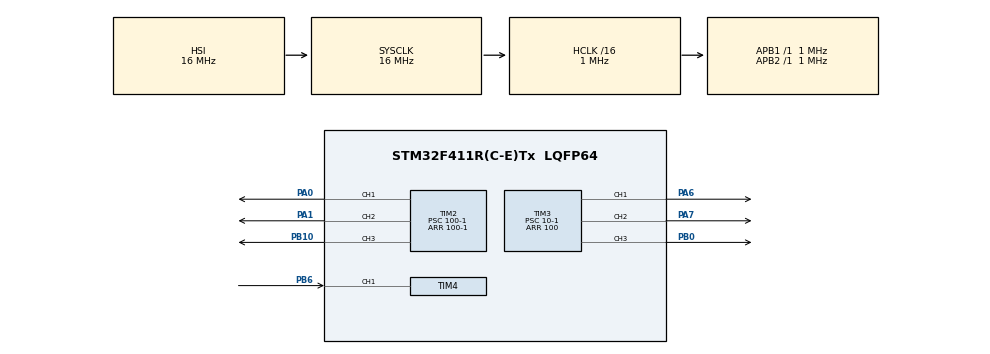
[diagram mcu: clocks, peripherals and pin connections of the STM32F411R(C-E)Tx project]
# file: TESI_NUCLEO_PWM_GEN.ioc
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Mcu.Family=STM32F4
Mcu.Name=STM32F411R(C-E)Tx
Mcu.Package=LQFP64
NVIC.PriorityGroup=NVIC_PRIORITYGROUP_4
NVIC.TIM4_IRQn=true\:0\:0\:false\:false\:true\:true\:true\:true
PA0-WKUP.Signal=S_TIM2_CH1_ETR
PA1.Signal=S_TIM2_CH2
PA6.Signal=S_TIM3_CH1
PA7.Signal=S_TIM3_CH2
PB0.Signal=S_TIM3_CH3
PB10.Signal=S_TIM2_CH3
PB6.Signal=S_TIM4_CH1
ProjectManager.HeapSize=0x200
ProjectManager.StackSize=0x400
ProjectManager.TargetToolchain=STM32CubeIDE
RCC.AHBCLKDivider=RCC_SYSCLK_DIV16
RCC.AHBFreq_Value=1000000
RCC.APB1Freq_Value=1000000
RCC.APB1TimFreq_Value=1000000
RCC.APB2Freq_Value=1000000
RCC.APB2TimFreq_Value=1000000
RCC.CortexFreq_Value=1000000
RCC.HCLKFreq_Value=1000000
RCC.HSE_VALUE=25000000
RCC.HSI_VALUE=16000000
RCC.LSE_VALUE=32768
RCC.SYSCLKFreq_VALUE=16000000
RCC.VCOOutputFreq_Value=192000000
SH.S_TIM2_CH1_ETR.0=TIM2_CH1,PWM Generation1 CH1
SH.S_TIM2_CH2.0=TIM2_CH2,PWM Generation2 CH2
SH.S_TIM2_CH3.0=TIM2_CH3,PWM Generation3 CH3
SH.S_TIM3_CH1.0=TIM3_CH1,PWM Generation1 CH1
SH.S_TIM3_CH2.0=TIM3_CH2,PWM Generation2 CH2
SH.S_TIM3_CH3.0=TIM3_CH3,PWM Generation3 CH3
SH.S_TIM4_CH1.0=TIM4_CH1,Input_Capture1_from_TI1
TIM2.Channel-PWM\ Generation1\ CH1=TIM_CHANNEL_1
TIM2.Channel-PWM\ Generation2\ CH2=TIM_CHANNEL_2
TIM2.Channel-PWM\ Generation3\ CH3=TIM_CHANNEL_3
TIM2.Period=100-1
TIM2.Prescaler=100-1
TIM2.Pulse-PWM\ Generation1\ CH1=80
TIM2.Pulse-PWM\ Generation2\ CH2=50
TIM2.Pulse-PWM\ Generation3\ CH3=20
TIM3.Channel-PWM\ Generation1\ CH1=TIM_CHANNEL_1
TIM3.Channel-PWM\ Generation2\ CH2=TIM_CHANNEL_2
TIM3.Channel-PWM\ Generation3\ CH3=TIM_CHANNEL_3
TIM3.Period=100
TIM3.Prescaler=10-1
TIM3.Pulse-PWM\ Generation1\ CH1=80
TIM3.Pulse-PWM\ Generation2\ CH2=50
TIM3.Pulse-PWM\ Generation3\ CH3=20
TIM4.Channel-Input_Capture1_from_TI1=TIM_CHANNEL_1
TIM4.Channel-Input_Capture2_from_TI1_63=TIM_CHANNEL_2
TIM4.ICPolarity_CH2=TIM_INPUTCHANNELPOLARITY_FALLING
TIM4.Prescaler=10-1
VP_TIM4_VS_indirect_ch1.Mode=Input_Capture2_from_TI1_63
board=custom

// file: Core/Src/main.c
/* USER CODE BEGIN Header */
/**
 ******************************************************************************
 * @file           : main.c
 * @brief          : Main program body
 ******************************************************************************
 * @attention
 *
 * Copyright (c) 2025 STMicroelectronics.
 * All rights reserved.
 *
 * This software is licensed under terms that can be found in the LICENSE file
 * in the root directory of this software component.
 * If no LICENSE file comes with this software, it is provided AS-IS.
 *
 ******************************************************************************
 */
/* USER CODE END Header */
#include "main.h"

/* USER CODE BEGIN Includes */
//#define READ_PWM
#ifdef READ_PWM
#include "pwmsignal.h"
#endif
/* USER CODE END Includes */

TIM_HandleTypeDef htim2;
TIM_HandleTypeDef htim3;
TIM_HandleTypeDef htim4;

/* USER CODE BEGIN PV */
#ifdef READ_PWM
PWM_SIGNAL_TypeDef pwm;
uint32_t freq;
uint32_t duty;
#endif

/* USER CODE END PV */

void SystemClock_Config(void);
static void MX_GPIO_Init(void);
static void MX_TIM2_Init(void);
static void MX_TIM3_Init(void);
static void MX_TIM4_Init(void);

int main(void)
{

	/* MCU Configuration--------------------------------------------------------*/

	/* Reset of all peripherals, Initializes the Flash interface and the Systick. */
	HAL_Init();

	/* Configure the system clock */
	SystemClock_Config();

	/* Initialize all configured peripherals */
	MX_GPIO_Init();
	MX_TIM2_Init();
	MX_TIM3_Init();
	MX_TIM4_Init();
	/* USER CODE BEGIN 2 */

	// AVVIO DEI TIMER PER LA GENERAZIONE DELLA PWM
	HAL_TIM_IC_Start(&htim2, TIM_CHANNEL_1); // PA0 	--> 	A0
	HAL_TIM_IC_Start(&htim2, TIM_CHANNEL_2); // PA1 	--> 	A1
	HAL_TIM_IC_Start(&htim2, TIM_CHANNEL_3); // PB10 	-->		D6

	HAL_TIM_IC_Start(&htim3, TIM_CHANNEL_1); //	PA6		-->		D12
	HAL_TIM_IC_Start(&htim3, TIM_CHANNEL_2); //	PA7		-->		D11
	HAL_TIM_IC_Start(&htim3, TIM_CHANNEL_3); //	PB0		-->		A3

	// TIMER PER LA VERIFICA DELLA PWM GENERATA
#ifdef READ_PWM
	HAL_TIM_IC_Start_IT(&htim4, TIM_CHANNEL_1); //	PB6		-->		D10
	HAL_TIM_IC_Start_IT(&htim4, TIM_CHANNEL_2);
#endif
	// INIZZIALIZZAZIONE DEI SENGALI
#ifdef READ_PWM
	PWM_SIGNAL_Init(&pwm, 1000000L, 10, 1);
#endif
	/* USER CODE END 2 */

	/* Infinite loop */
	/* USER CODE BEGIN WHILE */
	while (1)
	{
#ifdef READ_PWM
		HAL_Delay(300);
		freq = PWM_SIGNAL_GetFrequency(&pwm);
		duty = PWM_SIGNAL_GetDutyCycle(&pwm);
#endif
		/* USER CODE END WHILE */

	}
}

void SystemClock_Config(void)
{
	RCC_OscInitTypeDef RCC_OscInitStruct =
	{ 0 };
	RCC_ClkInitTypeDef RCC_ClkInitStruct =
	{ 0 };

	/** Configure the main internal regulator output voltage
	 */
	__HAL_RCC_PWR_CLK_ENABLE();
	__HAL_PWR_VOLTAGESCALING_CONFIG(PWR_REGULATOR_VOLTAGE_SCALE1);

	/** Initializes the RCC Oscillators according to the specified parameters
	 * in the RCC_OscInitTypeDef structure.
	 */
	RCC_OscInitStruct.OscillatorType = RCC_OSCILLATORTYPE_HSI;
	RCC_OscInitStruct.HSIState = RCC_HSI_ON;
	RCC_OscInitStruct.HSICalibrationValue = RCC_HSICALIBRATION_DEFAULT;
	RCC_OscInitStruct.PLL.PLLState = RCC_PLL_NONE;
	if (HAL_RCC_OscConfig(&RCC_OscInitStruct) != HAL_OK)
	{
		Error_Handler();
	}

	/** Initializes the CPU, AHB and APB buses clocks
	 */
	RCC_ClkInitStruct.ClockType = RCC_CLOCKTYPE_HCLK | RCC_CLOCKTYPE_SYSCLK | RCC_CLOCKTYPE_PCLK1 | RCC_CLOCKTYPE_PCLK2;
	RCC_ClkInitStruct.SYSCLKSource = RCC_SYSCLKSOURCE_HSI;
	RCC_ClkInitStruct.AHBCLKDivider = RCC_SYSCLK_DIV16;
	RCC_ClkInitStruct.APB1CLKDivider = RCC_HCLK_DIV1;
	RCC_ClkInitStruct.APB2CLKDivider = RCC_HCLK_DIV1;

	if (HAL_RCC_ClockConfig(&RCC_ClkInitStruct, FLASH_LATENCY_0) != HAL_OK)
	{
		Error_Handler();
	}
}

static void MX_TIM2_Init(void)
{

	TIM_MasterConfigTypeDef sMasterConfig =
	{ 0 };
	TIM_OC_InitTypeDef sConfigOC =
	{ 0 };

	htim2.Instance = TIM2;
	htim2.Init.Prescaler = 100 - 1;
	htim2.Init.CounterMode = TIM_COUNTERMODE_UP;
	htim2.Init.Period = 100 - 1;
	htim2.Init.ClockDivision = TIM_CLOCKDIVISION_DIV1;
	htim2.Init.AutoReloadPreload = TIM_AUTORELOAD_PRELOAD_DISABLE;
	if (HAL_TIM_PWM_Init(&htim2) != HAL_OK)
	{
		Error_Handler();
	}
	sMasterConfig.MasterOutputTrigger = TIM_TRGO_RESET;
	sMasterConfig.MasterSlaveMode = TIM_MASTERSLAVEMODE_DISABLE;
	if (HAL_TIMEx_MasterConfigSynchronization(&htim2, &sMasterConfig) != HAL_OK)
	{
		Error_Handler();
	}
	sConfigOC.OCMode = TIM_OCMODE_PWM1;
	sConfigOC.Pulse = 80;
	sConfigOC.OCPolarity = TIM_OCPOLARITY_HIGH;
	sConfigOC.OCFastMode = TIM_OCFAST_DISABLE;
	if (HAL_TIM_PWM_ConfigChannel(&htim2, &sConfigOC, TIM_CHANNEL_1) != HAL_OK)
	{
		Error_Handler();
	}
	sConfigOC.Pulse = 50;
	if (HAL_TIM_PWM_ConfigChannel(&htim2, &sConfigOC, TIM_CHANNEL_2) != HAL_OK)
	{
		Error_Handler();
	}
	sConfigOC.Pulse = 20;
	if (HAL_TIM_PWM_ConfigChannel(&htim2, &sConfigOC, TIM_CHANNEL_3) != HAL_OK)
	{
		Error_Handler();
	}
	HAL_TIM_MspPostInit(&htim2);

}

static void MX_TIM3_Init(void)
{

	TIM_MasterConfigTypeDef sMasterConfig =
	{ 0 };
	TIM_OC_InitTypeDef sConfigOC =
	{ 0 };

	htim3.Instance = TIM3;
	htim3.Init.Prescaler = 10 - 1;
	htim3.Init.CounterMode = TIM_COUNTERMODE_UP;
	htim3.Init.Period = 100;
	htim3.Init.ClockDivision = TIM_CLOCKDIVISION_DIV1;
	htim3.Init.AutoReloadPreload = TIM_AUTORELOAD_PRELOAD_DISABLE;
	if (HAL_TIM_PWM_Init(&htim3) != HAL_OK)
	{
		Error_Handler();
	}
	sMasterConfig.MasterOutputTrigger = TIM_TRGO_RESET;
	sMasterConfig.MasterSlaveMode = TIM_MASTERSLAVEMODE_DISABLE;
	if (HAL_TIMEx_MasterConfigSynchronization(&htim3, &sMasterConfig) != HAL_OK)
	{
		Error_Handler();
	}
	sConfigOC.OCMode = TIM_OCMODE_PWM1;
	sConfigOC.Pulse = 80;
	sConfigOC.OCPolarity = TIM_OCPOLARITY_HIGH;
	sConfigOC.OCFastMode = TIM_OCFAST_DISABLE;
	if (HAL_TIM_PWM_ConfigChannel(&htim3, &sConfigOC, TIM_CHANNEL_1) != HAL_OK)
	{
		Error_Handler();
	}
	sConfigOC.Pulse = 50;
	if (HAL_TIM_PWM_ConfigChannel(&htim3, &sConfigOC, TIM_CHANNEL_2) != HAL_OK)
	{
		Error_Handler();
	}
	sConfigOC.Pulse = 20;
	if (HAL_TIM_PWM_ConfigChannel(&htim3, &sConfigOC, TIM_CHANNEL_3) != HAL_OK)
	{
		Error_Handler();
	}
	HAL_TIM_MspPostInit(&htim3);

}

static void MX_TIM4_Init(void)
{

	TIM_MasterConfigTypeDef sMasterConfig =
	{ 0 };
	TIM_IC_InitTypeDef sConfigIC =
	{ 0 };

	htim4.Instance = TIM4;
	htim4.Init.Prescaler = 10 - 1;
	htim4.Init.CounterMode = TIM_COUNTERMODE_UP;
	htim4.Init.Period = 65535;
	htim4.Init.ClockDivision = TIM_CLOCKDIVISION_DIV1;
	htim4.Init.AutoReloadPreload = TIM_AUTORELOAD_PRELOAD_DISABLE;
	if (HAL_TIM_IC_Init(&htim4) != HAL_OK)
	{
		Error_Handler();
	}
	sMasterConfig.MasterOutputTrigger = TIM_TRGO_RESET;
	sMasterConfig.MasterSlaveMode = TIM_MASTERSLAVEMODE_DISABLE;
	if (HAL_TIMEx_MasterConfigSynchronization(&htim4, &sMasterConfig) != HAL_OK)
	{
		Error_Handler();
	}
	sConfigIC.ICPolarity = TIM_INPUTCHANNELPOLARITY_RISING;
	sConfigIC.ICSelection = TIM_ICSELECTION_DIRECTTI;
	sConfigIC.ICPrescaler = TIM_ICPSC_DIV1;
	sConfigIC.ICFilter = 0;
	if (HAL_TIM_IC_ConfigChannel(&htim4, &sConfigIC, TIM_CHANNEL_1) != HAL_OK)
	{
		Error_Handler();
	}
	sConfigIC.ICPolarity = TIM_INPUTCHANNELPOLARITY_FALLING;
	sConfigIC.ICSelection = TIM_ICSELECTION_INDIRECTTI;
	if (HAL_TIM_IC_ConfigChannel(&htim4, &sConfigIC, TIM_CHANNEL_2) != HAL_OK)
	{
		Error_Handler();
	}

}

static void MX_GPIO_Init(void)
{

	/* GPIO Ports Clock Enable */
	__HAL_RCC_GPIOA_CLK_ENABLE();
	__HAL_RCC_GPIOB_CLK_ENABLE();

}

/* USER CODE BEGIN 4 */
void HAL_TIM_IC_CaptureCallback(TIM_HandleTypeDef *htim)
{
#ifdef READ_PWM
	if (htim->Instance == TIM4)
	{
		switch (htim->Channel)
		{
			case HAL_TIM_ACTIVE_CHANNEL_1:
				PWM_SIGNAL_ComputePWM(&pwm, htim, TIM_CHANNEL_1, 1);
				break;
			case HAL_TIM_ACTIVE_CHANNEL_2:
				PWM_SIGNAL_ComputePWM(&pwm, htim, TIM_CHANNEL_2, 0);
				break;
			default:
				break;
		}
	}
#endif
}
/* USER CODE END 4 */

void Error_Handler(void)
{
	__disable_irq();
	while (1)
	{
	}
}
